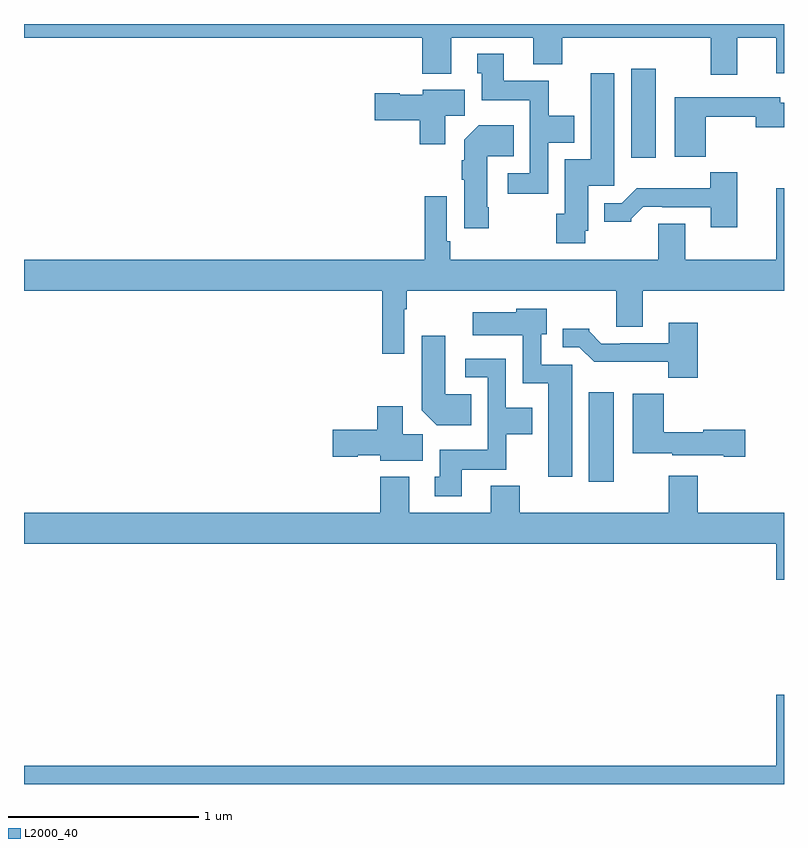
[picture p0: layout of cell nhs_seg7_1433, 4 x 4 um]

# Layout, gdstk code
import gdstk
lib = gdstk.Library(unit=1e-6, precision=1e-09)
def R(c, l, rs):  # rectangles x0, y0, x1, y1
    for r in rs: c.add(gdstk.rectangle(r[:2], r[2:], *l))
def P(c, l, *ps):  # polygons
    for p in ps: c.add(gdstk.Polygon(p, *l))
L2000_40 = (2000, 40)

nhs_seg7_1433 = lib.new_cell('nhs_seg7_1433')
R(nhs_seg7_1433, L2000_40, [(211.973,1019.592,212.104,1020.061), (212.195,1021.296,212.326,1021.765)])
P(nhs_seg7_1433, L2000_40, [(209,1021.928),(211.097,1021.928),(211.097,1021.739),(211.249,1021.739),(211.249,1021.928),(211.679,1021.928),(211.679,1021.787),(211.832,1021.787),(211.832,1021.928),(212.615,1021.928),(212.615,1021.734),(212.755,1021.734),(212.755,1021.928),(212.96,1021.928),(212.96,1021.74),(213,1021.74),(213,1022),(209,1022)],
  [(211.758,1021.376),(211.897,1021.376),(211.897,1021.516),(211.761,1021.516),(211.761,1021.702),(211.525,1021.702),(211.525,1021.843),(211.385,1021.843),(211.385,1021.74),(211.409,1021.74),(211.409,1021.598),(211.662,1021.598),(211.662,1021.215),(211.545,1021.215),(211.545,1021.107),(211.758,1021.107)],
  [(211.953,1020.912),(211.969,1020.912),(211.969,1021.149),(212.107,1021.149),(212.107,1021.741),(211.982,1021.741),(211.982,1021.288),(211.847,1021.288),(211.847,1021.002),(211.801,1021.002),(211.801,1020.846),(211.953,1020.846)],
  [(211.216,1021.516),(211.321,1021.516),(211.321,1021.654),(211.098,1021.654),(211.098,1021.627),(210.978,1021.627),(210.978,1021.635),(210.846,1021.635),(210.846,1021.493),(211.082,1021.493),(211.082,1021.368),(211.216,1021.368)],
  [(212.588,1021.513),(212.852,1021.513),(212.852,1021.456),(213,1021.456),(213,1021.585),(212.98,1021.585),(212.98,1021.614),(212.426,1021.614),(212.426,1021.301),(212.588,1021.301)],
  [(211.446,1021.036),(211.438,1021.036),(211.438,1021.304),(211.577,1021.304),(211.577,1021.468),(211.394,1021.468),(211.316,1021.39),(211.316,1021.283),(211.304,1021.283),(211.304,1021.18),(211.316,1021.18),(211.316,1020.924),(211.446,1020.924)],
  [(212.755,1021.219),(212.613,1021.219),(212.613,1021.135),(212.224,1021.135),(212.145,1021.056),(212.054,1021.056),(212.054,1020.959),(212.196,1020.959),(212.196,1020.974),(212.26,1021.038),(212.359,1021.038),(212.359,1021.035),(212.615,1021.035),(212.615,1020.93),(212.755,1020.93)],
  [(213,1021.135),(212.96,1021.135),(212.96,1020.76),(212.479,1020.76),(212.479,1020.95),(212.339,1020.95),(212.339,1020.76),(211.244,1020.76),(211.244,1020.856),(211.224,1020.856),(211.224,1021.093),(211.108,1021.093),(211.108,1020.76),(209,1020.76),(209,1020.596),(210.886,1020.596),(210.886,1020.264),(211.002,1020.264),(211.002,1020.5),(211.015,1020.5),(211.015,1020.596),(212.117,1020.596),(212.117,1020.406),(212.257,1020.406),(212.257,1020.596),(213,1020.596)],
  [(211.885,1020.207),(211.722,1020.207),(211.722,1020.366),(211.75,1020.366),(211.75,1020.502),(211.59,1020.502),(211.59,1020.484),(211.362,1020.484),(211.362,1020.362),(211.626,1020.362),(211.626,1020.11),(211.76,1020.11),(211.76,1019.616),(211.885,1019.616)],
  [(212.546,1020.427),(212.393,1020.427),(212.393,1020.321),(212.137,1020.321),(212.137,1020.318),(212.038,1020.318),(211.974,1020.382),(211.974,1020.397),(211.835,1020.397),(211.835,1020.3),(211.923,1020.3),(212.002,1020.222),(212.391,1020.222),(212.391,1020.137),(212.546,1020.137)],
  [(211.355,1020.052),(211.216,1020.052),(211.216,1020.358),(211.094,1020.358),(211.094,1019.966),(211.172,1019.888),(211.355,1019.888)],
  [(211.303,1019.654),(211.539,1019.654),(211.539,1019.84),(211.675,1019.84),(211.675,1019.98),(211.536,1019.98),(211.536,1020.237),(211.323,1020.237),(211.323,1020.141),(211.44,1020.141),(211.44,1019.758),(211.187,1019.758),(211.187,1019.616),(211.163,1019.616),(211.163,1019.514),(211.303,1019.514)],
  [(212.797,1019.864),(212.574,1019.864),(212.574,1019.851),(212.366,1019.851),(212.366,1020.055),(212.204,1020.055),(212.204,1019.741),(212.412,1019.741),(212.412,1019.729),(212.684,1019.729),(212.684,1019.722),(212.797,1019.722)],
  [(211.099,1019.84),(210.994,1019.84),(210.994,1019.989),(210.86,1019.989),(210.86,1019.864),(210.624,1019.864),(210.624,1019.722),(210.756,1019.722),(210.756,1019.729),(210.876,1019.729),(210.876,1019.702),(211.099,1019.702)],
  [(213,1019.428),(212.546,1019.428),(212.546,1019.623),(212.393,1019.623),(212.393,1019.428),(211.61,1019.428),(211.61,1019.569),(211.457,1019.569),(211.457,1019.428),(211.027,1019.428),(211.027,1019.617),(210.875,1019.617),(210.875,1019.428),(209,1019.428),(209,1019.264),(212.96,1019.264),(212.96,1019.076),(213,1019.076)],
  [(213,1018.471),(212.96,1018.471),(212.96,1018.096),(209,1018.096),(209,1018),(213,1018)])

lib.write_gds('nhs_seg7_1433.gds')
